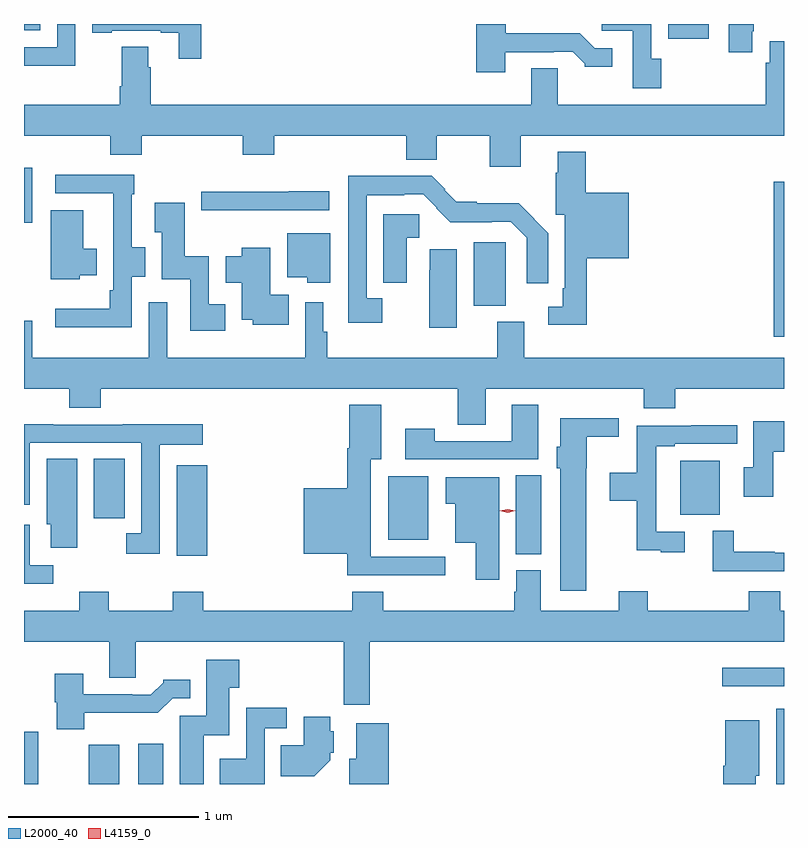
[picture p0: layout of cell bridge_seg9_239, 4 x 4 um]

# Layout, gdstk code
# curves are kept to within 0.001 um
import gdstk
lib = gdstk.Library(unit=1e-6, precision=1e-09)
def R(c, l, rs):  # rectangles x0, y0, x1, y1
    for r in rs: c.add(gdstk.rectangle(r[:2], r[2:], *l))
def P(c, l, *ps):  # polygons
    for p in ps: c.add(gdstk.Polygon(p, *l))
L2000_40 = (2000, 40)
L4159_0 = (4159, 0)

bridge_seg9_239 = lib.new_cell('bridge_seg9_239')
R(bridge_seg9_239, L2000_40, [(363.006,1185.016,363.082,1185.292), (363.346,1185.016,363.508,1185.223), (363.608,1185.016,363.739,1185.229), (366.965,1185.016,367.006,1185.412), (366.681,1185.531,367.006,1185.628), (363.809,1186.218,363.97,1186.693), (365.594,1186.225,365.728,1186.64), (364.922,1186.301,365.134,1186.636), (363.374,1186.416,363.535,1186.727), (366.461,1186.433,366.667,1186.717), (366.952,1187.37,367.006,1188.187), (365.372,1187.534,365.542,1187.868), (363.006,1187.969,363.049,1188.259), (366.396,1188.939,366.61,1189.016), (363.006,1188.983,363.091,1189.016)])
P(bridge_seg9_239, L2000_40, [(363.276,1189.016),(363.18,1189.016),(363.18,1188.894),(363.006,1188.894),(363.006,1188.797),(363.276,1188.797)],
  [(365.539,1188.867),(365.795,1188.867),(365.795,1188.87),(365.894,1188.87),(365.958,1188.806),(365.958,1188.791),(366.103,1188.791),(366.103,1188.888),(366.009,1188.888),(365.931,1188.967),(365.542,1188.967),(365.542,1189.016),(365.387,1189.016),(365.387,1188.762),(365.539,1188.762)],
  [(363.938,1189.016),(363.365,1189.016),(363.365,1188.969),(363.469,1188.969),(363.469,1188.981),(363.725,1188.981),(363.725,1188.969),(363.821,1188.969),(363.821,1188.834),(363.938,1188.834)],
  [(366.359,1188.834),(366.306,1188.834),(366.306,1189.016),(366.047,1189.016),(366.047,1188.981),(366.21,1188.981),(366.21,1188.678),(366.359,1188.678)],
  [(366.838,1188.979),(366.846,1188.979),(366.846,1189.016),(366.716,1189.016),(366.716,1188.867),(366.838,1188.867)],
  [(363.626,1188.428),(364.157,1188.428),(364.157,1188.329),(364.322,1188.329),(364.322,1188.428),(365.018,1188.428),(365.018,1188.302),(365.179,1188.302),(365.179,1188.428),(365.456,1188.428),(365.456,1188.264),(365.62,1188.264),(365.62,1188.428),(367.006,1188.428),(367.006,1188.925),(366.93,1188.925),(366.93,1188.812),(366.91,1188.812),(366.91,1188.592),(365.815,1188.592),(365.815,1188.782),(365.675,1188.782),(365.675,1188.592),(363.674,1188.592),(363.674,1188.788),(363.661,1188.788),(363.661,1188.896),(363.521,1188.896),(363.521,1188.688),(363.509,1188.688),(363.509,1188.592),(363.006,1188.592),(363.006,1188.428),(363.461,1188.428),(363.461,1188.329),(363.626,1188.329)],
  [(365.969,1187.783),(366.19,1187.783),(366.19,1188.127),(365.963,1188.127),(365.963,1188.343),(365.816,1188.343),(365.816,1188.233),(365.804,1188.233),(365.804,1188.012),(365.853,1188.012),(365.853,1187.626),(365.841,1187.626),(365.841,1187.529),(365.766,1187.529),(365.766,1187.432),(365.969,1187.432)],
  [(363.573,1187.686),(363.643,1187.686),(363.643,1187.841),(363.573,1187.841),(363.573,1188.119),(363.586,1188.119),(363.586,1188.222),(363.171,1188.222),(363.171,1188.126),(363.476,1188.126),(363.476,1187.929),(363.477,1187.929),(363.477,1187.614),(363.457,1187.614),(363.457,1187.518),(363.171,1187.518),(363.171,1187.42),(363.573,1187.42)],
  [(364.892,1187.572),(364.809,1187.572),(364.809,1188.116),(365.006,1188.116),(365.006,1188.12),(365.106,1188.12),(365.178,1188.048),(365.175,1188.045),(365.249,1187.972),(365.468,1187.972),(365.468,1187.976),(365.568,1187.976),(365.652,1187.892),(365.652,1187.652),(365.764,1187.652),(365.764,1187.916),(365.609,1188.073),(365.389,1188.073),(365.389,1188.081),(365.281,1188.081),(365.219,1188.143),(365.223,1188.147),(365.153,1188.217),(364.713,1188.217),(364.713,1187.444),(364.892,1187.444)],
  [(364.295,1188.036),(364.612,1188.036),(364.612,1188.137),(364.399,1188.137),(364.399,1188.134),(363.939,1188.134),(363.939,1188.035),(364.295,1188.035)],
  [(364.066,1187.542),(363.978,1187.542),(363.978,1187.794),(363.853,1187.794),(363.853,1188.076),(363.695,1188.076),(363.695,1187.92),(363.731,1187.92),(363.731,1187.672),(363.882,1187.672),(363.882,1187.402),(364.066,1187.402)],
  [(363.3,1187.693),(363.388,1187.693),(363.388,1187.833),(363.319,1187.833),(363.319,1188.037),(363.146,1188.037),(363.146,1187.672),(363.3,1187.672)],
  [(365.02,1187.891),(365.087,1187.891),(365.087,1188.014),(364.898,1188.014),(364.898,1187.653),(365.02,1187.653)],
  [(364.618,1187.914),(364.391,1187.914),(364.391,1187.684),(364.496,1187.684),(364.496,1187.654),(364.618,1187.654)],
  [(364.4,1187.59),(364.303,1187.59),(364.303,1187.839),(364.151,1187.839),(364.151,1187.794),(364.067,1187.794),(364.067,1187.654),(364.151,1187.654),(364.151,1187.459),(364.209,1187.459),(364.209,1187.432),(364.4,1187.432)],
  [(365.284,1187.831),(365.142,1187.831),(365.142,1187.72),(365.138,1187.72),(365.138,1187.418),(365.284,1187.418)],
  [(365.437,1187.096),(366.269,1187.096),(366.269,1186.994),(366.434,1186.994),(366.434,1187.096),(367.006,1187.096),(367.006,1187.26),(365.638,1187.26),(365.638,1187.449),(365.498,1187.449),(365.498,1187.26),(364.601,1187.26),(364.601,1187.397),(364.582,1187.397),(364.582,1187.551),(364.485,1187.551),(364.485,1187.26),(363.759,1187.26),(363.759,1187.551),(363.663,1187.551),(363.663,1187.26),(363.049,1187.26),(363.049,1187.455),(363.006,1187.455),(363.006,1187.096),(363.245,1187.096),(363.245,1186.997),(363.41,1186.997),(363.41,1187.096),(365.29,1187.096),(365.29,1186.906),(365.437,1186.906)],
  [(365.224,1186.212),(364.831,1186.212),(364.831,1186.724),(364.885,1186.724),(364.885,1187.011),(364.718,1187.011),(364.718,1186.784),(364.706,1186.784),(364.706,1186.573),(364.478,1186.573),(364.478,1186.229),(364.706,1186.229),(364.706,1186.115),(365.224,1186.115)],
  [(365.713,1187.011),(365.573,1187.011),(365.573,1186.821),(365.169,1186.821),(365.169,1186.885),(365.013,1186.885),(365.013,1186.725),(365.713,1186.725)],
  [(365.965,1186.677),(365.968,1186.677),(365.968,1186.844),(366.136,1186.844),(366.136,1186.942),(365.828,1186.942),(365.828,1186.791),(365.81,1186.791),(365.81,1186.677),(365.828,1186.677),(365.828,1186.032),(365.965,1186.032)],
  [(366.949,1186.766),(367.006,1186.766),(367.006,1186.924),(366.845,1186.924),(366.845,1186.683),(366.795,1186.683),(366.795,1186.527),(366.949,1186.527)],
  [(363.72,1186.802),(363.946,1186.802),(363.946,1186.91),(363.527,1186.91),(363.527,1186.908),(363.161,1186.908),(363.161,1186.91),(363.006,1186.91),(363.006,1186.485),(363.036,1186.485),(363.036,1186.812),(363.624,1186.812),(363.624,1186.335),(363.543,1186.335),(363.543,1186.227),(363.72,1186.227)],
  [(366.484,1186.344),(366.333,1186.344),(366.333,1186.794),(366.43,1186.794),(366.43,1186.806),(366.76,1186.806),(366.76,1186.904),(366.517,1186.904),(366.517,1186.902),(366.232,1186.902),(366.232,1186.654),(366.09,1186.654),(366.09,1186.507),(366.232,1186.507),(366.232,1186.247),(366.356,1186.247),(366.356,1186.236),(366.484,1186.236)],
  [(363.286,1186.727),(363.125,1186.727),(363.125,1186.383),(363.146,1186.383),(363.146,1186.26),(363.286,1186.26)],
  [(365.506,1186.63),(365.225,1186.63),(365.225,1186.49),(365.276,1186.49),(365.276,1186.286),(365.384,1186.286),(365.384,1186.092),(365.506,1186.092)],
  [(363.16,1186.167),(363.036,1186.167),(363.036,1186.38),(363.006,1186.38),(363.006,1186.07),(363.16,1186.07)],
  [(367.006,1186.233),(366.956,1186.233),(366.956,1186.238),(366.742,1186.238),(366.742,1186.348),(366.632,1186.348),(366.632,1186.137),(367.006,1186.137)],
  [(367.006,1185.928),(366.986,1185.928),(366.986,1186.03),(366.821,1186.03),(366.821,1185.928),(366.29,1185.928),(366.29,1186.03),(366.137,1186.03),(366.137,1185.928),(365.725,1185.928),(365.725,1186.14),(365.597,1186.14),(365.597,1186.029),(365.585,1186.029),(365.585,1185.928),(364.898,1185.928),(364.898,1186.027),(364.733,1186.027),(364.733,1185.928),(363.95,1185.928),(363.95,1186.027),(363.79,1186.027),(363.79,1185.928),(363.453,1185.928),(363.453,1186.027),(363.298,1186.027),(363.298,1185.928),(363.006,1185.928),(363.006,1185.764),(363.455,1185.764),(363.455,1185.574),(363.595,1185.574),(363.595,1185.764),(364.69,1185.764),(364.69,1185.432),(364.826,1185.432),(364.826,1185.764),(367.006,1185.764)],
  [(363.952,1185.272),(364.087,1185.272),(364.087,1185.523),(364.139,1185.523),(364.139,1185.67),(363.965,1185.67),(363.965,1185.375),(363.827,1185.375),(363.827,1185.016),(363.952,1185.016)],
  [(363.322,1185.39),(363.711,1185.39),(363.789,1185.468),(363.88,1185.468),(363.88,1185.565),(363.738,1185.565),(363.738,1185.55),(363.674,1185.486),(363.575,1185.486),(363.575,1185.489),(363.319,1185.489),(363.319,1185.595),(363.167,1185.595),(363.167,1185.447),(363.179,1185.447),(363.179,1185.305),(363.322,1185.305)],
  [(364.272,1185.309),(364.39,1185.309),(364.39,1185.418),(364.176,1185.418),(364.176,1185.148),(364.037,1185.148),(364.037,1185.016),(364.272,1185.016)],
  [(364.618,1185.141),(364.618,1185.18),(364.636,1185.18),(364.636,1185.294),(364.618,1185.294),(364.618,1185.37),(364.478,1185.37),(364.478,1185.22),(364.357,1185.22),(364.357,1185.056),(364.534,1185.056)],
  [(366.856,1185.06),(366.877,1185.06),(366.877,1185.352),(366.698,1185.352),(366.698,1185.112),(366.686,1185.112),(366.686,1185.016),(366.856,1185.016)],
  [(364.925,1185.337),(364.754,1185.337),(364.754,1185.148),(364.718,1185.148),(364.718,1185.016),(364.925,1185.016)])
P(bridge_seg9_239, L4159_0, [(365.551,1186.443),(365.511,1186.453),(365.511,1186.453),(365.511,1186.454),(365.551,1186.463),(365.591,1186.454),(365.591,1186.453),(365.591,1186.453)])

lib.write_gds('bridge_seg9_239.gds')
